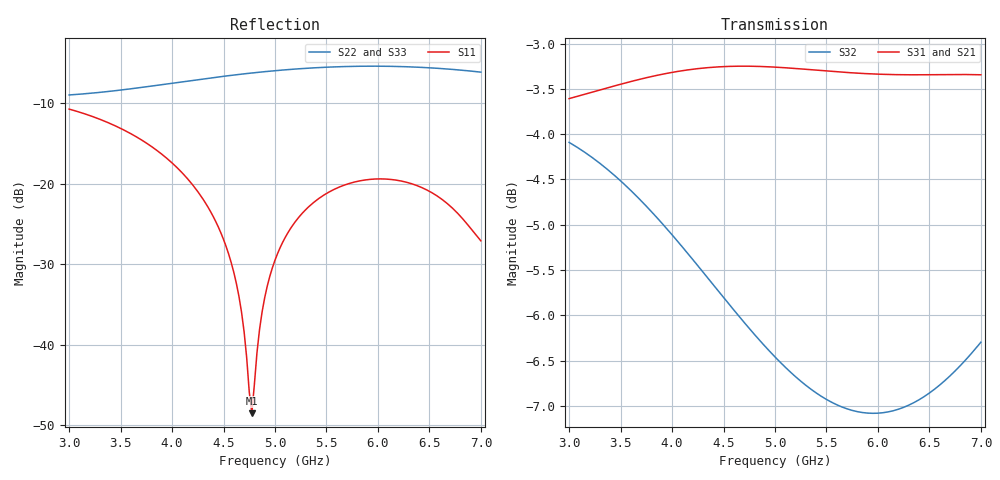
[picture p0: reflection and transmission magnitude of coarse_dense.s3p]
! yapnr rf: divider-osh-w-star-sched-w-eq-em528-fwd, footprint re-simulated (optimization grid)
! spec sha256 93e0f3d123ef5b798d862bf4c4a94fe7c0b8a7d67cfc294c964d704fa89c1cb5
! 3 ports renormalized to 50 ohm, e^(+jwt) convention
# GHz S RI R 50
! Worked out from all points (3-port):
!   161 points, 3 GHz to 7 GHz, reference 50 ohm
!   strongest paths, dB at 3 GHz, 4 GHz, 5 GHz, 6 GHz, 7 GHz:
!     S31: -3.6, -3.3, -3.3, -3.3, -3.3
!     S21: -3.6, -3.3, -3.3, -3.3, -3.3
!     S32: -4.1, -5.1, -6.5, -7.1, -6.3
!   lowest |S11| = -48.5 dB at 4.775 GHz (marker M1), VSWR 1.01, Z = 49.7 + j0.257 ohm
!   |S11| at or under -10 dB: start of sweep to end of sweep
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3  -0.1102 0.2692  -0.385 -0.5366  -0.385 -0.5366
   -0.385 -0.5362  0.3139 0.168  -0.6056 -0.1519
   -0.385 -0.5362  -0.6056 -0.1519  0.3139 0.168
4.35  0.0351 0.0623  -0.6802 0.0883  -0.6802 0.0883
      -0.6811 0.0872  0.2416 -0.3819  -0.2623 0.4551
      -0.6811 0.0872  -0.2623 0.4551  0.2416 -0.3819
4.625  0.0138 0.0197  -0.6436 0.2393  -0.6436 0.2393
       -0.6452 0.2383  0.1431 -0.4534  -0.1407 0.4825
       -0.6452 0.2383  -0.1407 0.4825  0.1431 -0.4534
4.775  -0.00272 0.00259  -0.6088 0.3169  -0.6088 0.3169
       -0.6108 0.3162  0.0827 -0.4804  -0.0771 0.4849
       -0.6108 0.3162  -0.0771 0.4849  0.0827 -0.4804
4.875  -0.0149 -0.00598  -0.5802 0.3659  -0.5802 0.3659
       -0.5825 0.3654  0.0408 -0.4933  -0.0365 0.4824
       -0.5825 0.3654  -0.0365 0.4824  0.0408 -0.4933
5  -0.0307 -0.0134  -0.5388 0.4232  -0.5388 0.4232
   -0.5413 0.4231  -0.0129 -0.5035  0.012 0.4752
   -0.5413 0.4231  0.012 0.4752  -0.0129 -0.5035
5.35  -0.0725 -0.0159  -0.3945 0.5567  -0.3945 0.5567
      -0.3972 0.5578  -0.1635 -0.4972  0.1335 0.4362
      -0.3972 0.5578  0.1335 0.4362  -0.1635 -0.4972
5.925  -0.105 0.0179  -0.0968 0.671  -0.0968 0.671
       -0.0978 0.6741  -0.3744 -0.3854  0.2917 0.3327
       -0.0978 0.6741  0.2917 0.3327  -0.3744 -0.3854
6.5  -0.0794 0.0419  0.2233 0.6394  0.2233 0.6394
     0.2253 0.642  -0.4895 -0.1899  0.4122 0.1903
     0.2253 0.642  0.4122 0.1903  -0.4895 -0.1899
7  -0.0431 0.00973  0.47 0.4888  0.47 0.4888
   0.4734 0.4887  -0.4934 -0.00602  0.4838 0.0234
   0.4734 0.4887  0.4838 0.0234  -0.4934 -0.00602
